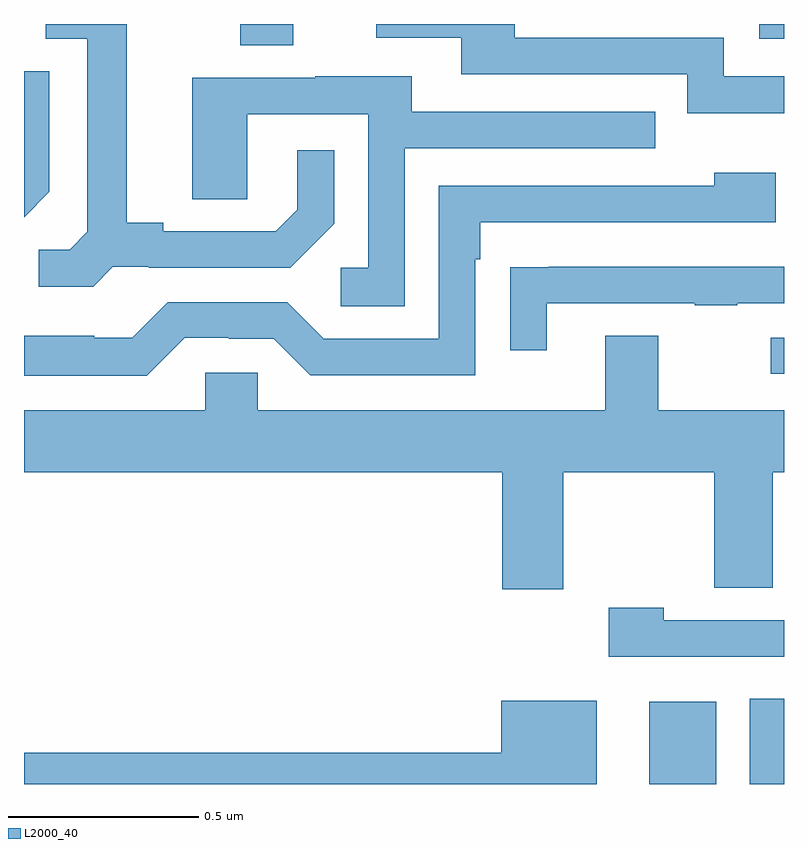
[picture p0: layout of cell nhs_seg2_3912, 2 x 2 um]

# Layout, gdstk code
import gdstk
lib = gdstk.Library(unit=1e-6, precision=1e-09)
def R(c, l, rs):  # rectangles x0, y0, x1, y1
    for r in rs: c.add(gdstk.rectangle(r[:2], r[2:], *l))
def P(c, l, *ps):  # polygons
    for p in ps: c.add(gdstk.Polygon(p, *l))
L2000_40 = (2000, 40)

nhs_seg2_3912 = lib.new_cell('nhs_seg2_3912')
R(nhs_seg2_3912, L2000_40, [(160.646,662.8,160.822,663.016), (160.91,662.8,161,663.025), (160.965,663.879,161,663.975), (159.569,664.744,159.709,664.8), (160.935,664.761,161,664.8)])
P(nhs_seg2_3912, L2000_40, [(161,664.662),(160.842,664.662),(160.842,664.764),(160.291,664.764),(160.291,664.8),(159.927,664.8),(159.927,664.764),(160.151,664.764),(160.151,664.668),(160.746,664.668),(160.746,664.565),(161,664.565)],
  [(159.234,664.161),(159.328,664.161),(159.328,664.158),(159.7,664.158),(159.816,664.274),(159.816,664.468),(159.719,664.468),(159.719,664.311),(159.662,664.254),(159.367,664.254),(159.367,664.277),(159.271,664.277),(159.271,664.8),(159.057,664.8),(159.057,664.761),(159.167,664.761),(159.167,664.253),(159.12,664.206),(159.039,664.206),(159.039,664.109),(159.182,664.109)],
  [(159.066,664.358),(159.066,664.676),(159,664.676),(159,664.292)],
  [(160.002,664.473),(160.661,664.473),(160.661,664.569),(160.021,664.569),(160.021,664.663),(159.767,664.663),(159.767,664.659),(159.443,664.659),(159.443,664.339),(159.588,664.339),(159.588,664.563),(159.906,664.563),(159.906,664.158),(159.834,664.158),(159.834,664.057),(160.002,664.057)],
  [(159.423,663.975),(159.539,663.975),(159.539,663.972),(159.657,663.972),(159.753,663.876),(160.188,663.876),(160.188,664.181),(160.201,664.181),(160.201,664.278),(160.978,664.278),(160.978,664.408),(160.817,664.408),(160.817,664.374),(160.092,664.374),(160.092,663.972),(159.789,663.972),(159.693,664.068),(159.378,664.068),(159.285,663.975),(159.185,663.975),(159.185,663.979),(159,663.979),(159,663.875),(159.323,663.875)],
  [(160.375,664.065),(160.765,664.065),(160.765,664.06),(160.877,664.06),(160.877,664.065),(161,664.065),(161,664.161),(160.381,664.161),(160.381,664.16),(160.279,664.16),(160.279,663.942),(160.375,663.942)],
  [(160.419,663.62),(160.816,663.62),(160.816,663.316),(160.97,663.316),(160.97,663.62),(161,663.62),(161,663.784),(160.669,663.784),(160.669,663.979),(160.529,663.979),(160.529,663.784),(159.615,663.784),(159.615,663.882),(159.477,663.882),(159.477,663.784),(159,663.784),(159,663.62),(160.259,663.62),(160.259,663.312),(160.419,663.312)],
  [(161,663.231),(160.683,663.231),(160.683,663.264),(160.539,663.264),(160.539,663.135),(161,663.135)],
  [(160.507,663.019),(160.256,663.019),(160.256,662.882),(159,662.882),(159,662.8),(160.507,662.8)])

lib.write_gds('nhs_seg2_3912.gds')
